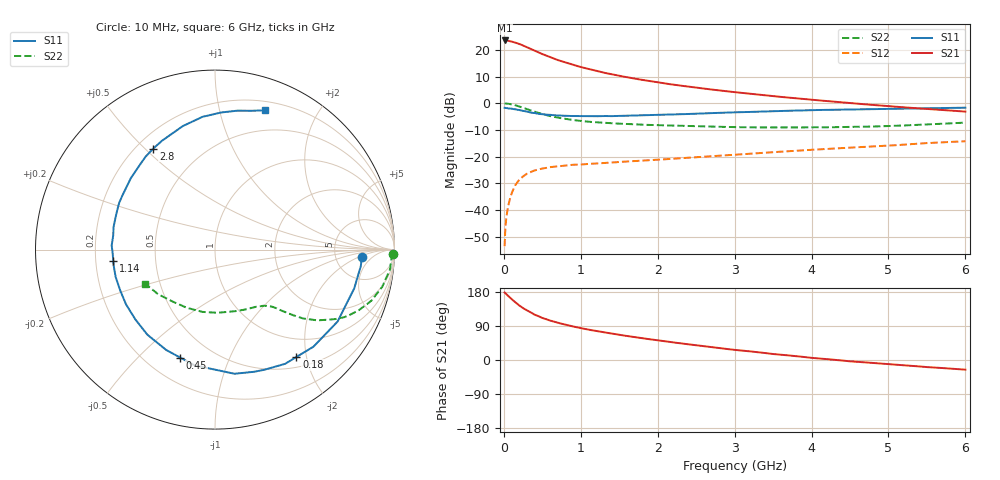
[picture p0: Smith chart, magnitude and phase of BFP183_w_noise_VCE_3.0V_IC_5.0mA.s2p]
! Infineon Technologies  Discrete & RF Semiconductors
! BFP183
! VCE = 3.0 V,  IC =  5.0 mA
! Common Emitter S-Parameters:  Jan 2016
# GHz  S  MA  R  50
!  f  S11  S21  S12  S22
! GHz  MAG  ANG  MAG  ANG  MAG  ANG  MAG  ANG
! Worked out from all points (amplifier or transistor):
!   210 points, 10 MHz to 6 GHz, reference 50 ohm
!   highest |S21| = 23.5 dB at 10 MHz (marker M1)
!   |S21| within 3 dB of that: start of sweep to 336.8 MHz
!   unconditionally stable (mu >= 1): 1.565 GHz to 5.761 GHz
!   at 185 MHz: K = 0.16, MSG = 25.8 dB, |S12| = -29.2 dB
!   at 1.52 GHz: K = 0.98, MSG = 16.1 dB, |S12| = -22.0 dB
!   at 6 GHz: K = 0.95, MSG = 5.5 dB, |S12| = -14.2 dB
!   lowest NFmin = 1.15 dB at 450 MHz
!   S11 on the Smith chart (normalised r, x): 10 MHz: 9.39, -2.44; 180 MHz: 0.67, -1.82; 450 MHz: 0.34, -0.67; 1.14 GHz: 0.27, -0.05; 2.8 GHz: 0.27, +0.53; 6 GHz: 0.29, +1.38
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0.01  0.8187 -3.0  14.96 178.2  0.0021 84.2  0.9928 -1.3
0.02  0.8177 -6.4  14.9 176.5  0.0046 86.5  0.9844 -2.5
0.05  0.8052 -15.6  14.83 170.3  0.0105 83.9  0.9815 -6.4
0.1  0.792 -30.4  14.3 160.9  0.0201 73.6  0.9545 -12.6
0.15  0.7703 -44.6  13.62 152.1  0.0293 67.2  0.9168 -18.1
0.18  0.7508 -52.8  13.19 147.3  0.0337 63.7  0.8881 -20.9
0.24  0.7235 -67.8  12.21 138.2  0.0414 57.3  0.8317 -26.1
0.3  0.7002 -81.1  11.21 130.9  0.0478 51.7  0.7739 -30.0
0.4  0.6546 -100.1  9.658 119.6  0.0551 45.0  0.6925 -34.7
0.45  0.6322 -107.8  8.965 115.6  0.0573 42.2  0.6588 -36.2
0.5  0.6219 -115.9  8.323 111.0  0.0597 39.7  0.6256 -37.9
0.6  0.6056 -128.5  7.337 104.1  0.0635 36.8  0.5742 -39.8
0.7  0.5901 -138.8  6.432 98.3  0.0656 34.1  0.5367 -41.2
1.02  0.573 -165.9  4.678 83.3  0.0714 30.8  0.4619 -44.3
1.14  0.5701 -173.6  4.238 78.7  0.0734 30.1  0.4454 -45.4
1.5  0.5791 167.5  3.257 66.4  0.0793 30.2  0.4133 -49.2
2.02  0.6022 145.7  2.429 51.4  0.0877 30.8  0.387 -56.4
2.8  0.6598 121.4  1.736 31.3  0.1038 31.6  0.3617 -71.4
3.1  0.6796 113.6  1.556 24.8  0.1108 31.1  0.3545 -78.1
4.1  0.7461 93.7  1.128 4.1  0.1366 28.5  0.3535 -104.3
5.1  0.7866 79.7  0.857 -12.4  0.1637 24.7  0.3775 -131.8
6  0.8241 70.3  0.696 -25.5  0.194 17.8  0.4327 -154.1
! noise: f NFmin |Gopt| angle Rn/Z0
0.45  1.15  0.25  40  0.26
0.9  1.2  0.25  93  0.22
1.8  1.95  0.32  170  0.13
